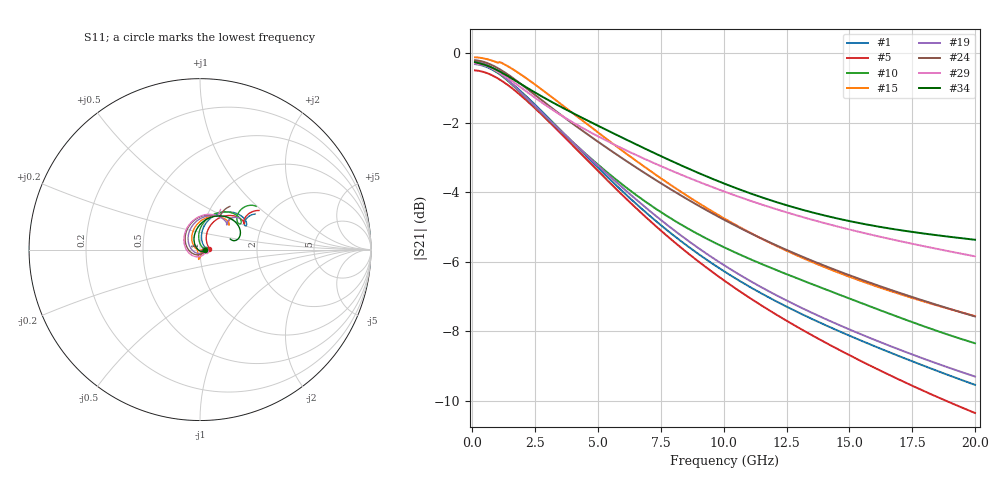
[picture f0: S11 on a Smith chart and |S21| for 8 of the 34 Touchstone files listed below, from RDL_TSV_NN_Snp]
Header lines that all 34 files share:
! Created with skrf 1.9.0 (http://scikit-rf.org).
# GHz S RI R 50.0
!freq ReS11 ImS11 ReS21 ImS21 ReS12 ImS12 ReS22 ImS22
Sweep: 100 MHz to 20 GHz
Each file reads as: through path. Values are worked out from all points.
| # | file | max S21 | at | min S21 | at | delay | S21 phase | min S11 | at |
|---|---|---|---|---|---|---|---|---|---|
| 1 | dut110.s2p | -0.31 dB | 100 MHz | -9.5 dB | 20 GHz | 29.3 ps | -131 deg at 10.1 GHz | -30.3 dB | 700 MHz |
| 2 | dut116.s2p | -0.27 dB | 100 MHz | -3.2 dB | 20 GHz | 14.3 ps | -60 deg at 10.1 GHz | -30.1 dB | 100 MHz |
| 3 | dut117.s2p | -0.12 dB | 100 MHz | -6.0 dB | 20 GHz | 21.7 ps | -95 deg at 10.1 GHz | -36.5 dB | 100 MHz |
| 4 | dut120.s2p | -0.17 dB | 100 MHz | -5.9 dB | 20 GHz | 18.7 ps | -84 deg at 10.1 GHz | -44.2 dB | 1.2 GHz |
| 5 | dut121.s2p | -0.49 dB | 100 MHz | -10.3 dB | 20 GHz | 30.8 ps | -138 deg at 10.1 GHz | -25.8 dB | 800 MHz |
| 6 | dut126.s2p | -0.19 dB | 100 MHz | -8.1 dB | 20 GHz | 29.1 ps | -127 deg at 10.1 GHz | -43.3 dB | 1 GHz |
| 7 | dut127.s2p | -0.14 dB | 100 MHz | -8.3 dB | 20 GHz | 27.1 ps | -121 deg at 10.1 GHz | -38.0 dB | 600 MHz |
| 8 | dut128.s2p | -0.21 dB | 100 MHz | -7.9 dB | 20 GHz | 24.4 ps | -111 deg at 10.1 GHz | -32.5 dB | 100 MHz |
| 9 | dut136.s2p | -0.12 dB | 100 MHz | -7.3 dB | 20 GHz | 23.2 ps | -104 deg at 10.1 GHz | -37.3 dB | 100 MHz |
| 10 | dut138.s2p | -0.24 dB | 100 MHz | -8.3 dB | 20 GHz | 32.4 ps | -137 deg at 10.1 GHz | -34.4 dB | 700 MHz |
| 11 | dut144.s2p | -0.32 dB | 100 MHz | -5.6 dB | 20 GHz | 19.5 ps | -86 deg at 10.1 GHz | -38.4 dB | 1.6 GHz |
| 12 | dut146.s2p | -0.38 dB | 100 MHz | -4.4 dB | 20 GHz | 17.5 ps | -74 deg at 10.1 GHz | -27.4 dB | 100 MHz |
| 13 | dut147.s2p | -0.28 dB | 100 MHz | -6.9 dB | 20 GHz | 22.2 ps | -99 deg at 10.1 GHz | -35.7 dB | 1.5 GHz |
| 14 | dut148.s2p | -0.34 dB | 100 MHz | -5.7 dB | 20 GHz | 23.4 ps | -100 deg at 10.1 GHz | -43.6 dB | 1.7 GHz |
| 15 | dut149.s2p | -0.12 dB | 100 MHz | -7.6 dB | 20 GHz | 26.3 ps | -116 deg at 10.1 GHz | -36.8 dB | 100 MHz |
| 16 | dut152.s2p | -0.25 dB | 100 MHz | -6.2 dB | 20 GHz | 19.3 ps | -88 deg at 10.1 GHz | -54.1 dB | 1.2 GHz |
| 17 | dut158.s2p | -0.51 dB | 100 MHz | -6.6 dB | 20 GHz | 23.1 ps | -101 deg at 10.1 GHz | -30.8 dB | 2.1 GHz |
| 18 | dut159.s2p | -0.08 dB | 100 MHz | -5.3 dB | 20 GHz | 16.6 ps | -75 deg at 10.1 GHz | -49.6 dB | 700 MHz |
| 19 | dut160.s2p | -0.23 dB | 100 MHz | -9.3 dB | 20 GHz | 32 ps | -140 deg at 10.1 GHz | -32.8 dB | 700 MHz |
| 20 | dut161.s2p | -0.06 dB | 100 MHz | -3.5 dB | 20 GHz | 14 ps | -60 deg at 10.1 GHz | -40.0 dB | 100 MHz |
| 21 | dut162.s2p | -0.19 dB | 100 MHz | -9.1 dB | 20 GHz | 34.1 ps | -147 deg at 10.1 GHz | -53.9 dB | 900 MHz |
| 22 | dut164.s2p | -0.13 dB | 100 MHz | -8.1 dB | 20 GHz | 26.6 ps | -119 deg at 10.1 GHz | -37.9 dB | 600 MHz |
| 23 | dut166.s2p | -0.25 dB | 100 MHz | -6.6 dB | 20 GHz | 23.4 ps | -103 deg at 10.1 GHz | -31.1 dB | 100 MHz |
| 24 | dut170.s2p | -0.20 dB | 100 MHz | -7.6 dB | 20 GHz | 28.4 ps | -122 deg at 10.1 GHz | -32.9 dB | 100 MHz |
| 25 | dut175.s2p | -0.11 dB | 100 MHz | -5.7 dB | 20 GHz | 17.1 ps | -77 deg at 10.1 GHz | -38.3 dB | 100 MHz |
| 26 | dut177.s2p | -0.10 dB | 100 MHz | -3.6 dB | 20 GHz | 16.1 ps | -68 deg at 10.1 GHz | -38.6 dB | 100 MHz |
| 27 | dut178.s2p | -0.17 dB | 100 MHz | -7.0 dB | 20 GHz | 22.8 ps | -103 deg at 10.1 GHz | -34.5 dB | 100 MHz |
| 28 | dut180.s2p | -0.21 dB | 100 MHz | -7.5 dB | 20 GHz | 31.1 ps | -131 deg at 10.1 GHz | -32.2 dB | 100 MHz |
| 29 | dut181.s2p | -0.30 dB | 100 MHz | -5.8 dB | 20 GHz | 23 ps | -98 deg at 10.1 GHz | -29.5 dB | 100 MHz |
| 30 | dut188.s2p | -0.21 dB | 100 MHz | -8.7 dB | 20 GHz | 28.8 ps | -128 deg at 10.1 GHz | -32.3 dB | 100 MHz |
| 31 | dut193.s2p | -0.15 dB | 100 MHz | -7.4 dB | 20 GHz | 29.1 ps | -126 deg at 10.1 GHz | -39.1 dB | 800 MHz |
| 32 | dut196.s2p | -0.24 dB | 100 MHz | -9.2 dB | 20 GHz | 32.9 ps | -141 deg at 10.1 GHz | -47.2 dB | 1 GHz |
| 33 | dut200.s2p | -0.18 dB | 100 MHz | -7.1 dB | 20 GHz | 25.4 ps | -112 deg at 10.1 GHz | -38.3 dB | 1 GHz |
| 34 | dut206.s2p | -0.26 dB | 100 MHz | -5.4 dB | 20 GHz | 21.3 ps | -92 deg at 10.1 GHz | -42.9 dB | 1.3 GHz |
